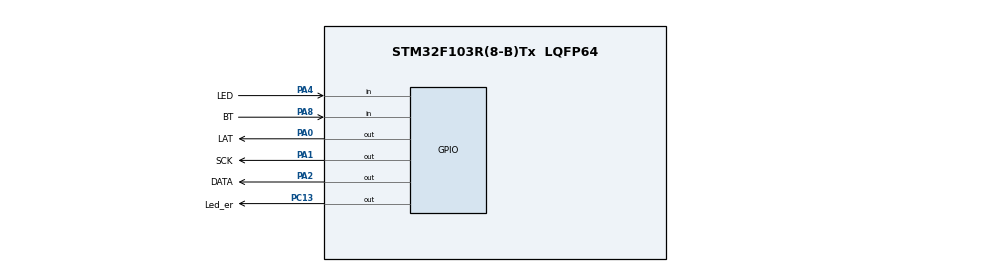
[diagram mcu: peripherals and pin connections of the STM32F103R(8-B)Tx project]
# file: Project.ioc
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Mcu.Family=STM32F1
Mcu.Name=STM32F103R(8-B)Tx
Mcu.Package=LQFP64
NVIC.PriorityGroup=NVIC_PRIORITYGROUP_4
PA0-WKUP.GPIO_Label=LAT
PA0-WKUP.Signal=GPIO_Output
PA1.GPIO_Label=SCK
PA1.Signal=GPIO_Output
PA13.Mode=Serial_Wire
PA13.Signal=SYS_JTMS-SWDIO
PA14.Mode=Serial_Wire
PA14.Signal=SYS_JTCK-SWCLK
PA2.GPIO_Label=DATA
PA2.Signal=GPIO_Output
PA4.GPIO_Label=LED
PA4.Signal=GPIO_Input
PA8.GPIO_Label=BT
PA8.Signal=GPIO_Input
PC13-TAMPER-RTC.GPIO_Label=Led_er
PC13-TAMPER-RTC.Signal=GPIO_Output
ProjectManager.HeapSize=0x200
ProjectManager.StackSize=0x400
ProjectManager.TargetToolchain=STM32CubeIDE
RCC.APB1Freq_Value=8000000
RCC.APB2Freq_Value=8000000
board=custom

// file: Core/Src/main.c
/* USER CODE BEGIN Header */
/**
  ******************************************************************************
  * @file           : main.c
  * @brief          : Main program body
  ******************************************************************************
  * @attention
  *
  * Copyright (c) 2024 STMicroelectronics.
  * All rights reserved.
  *
  * This software is licensed under terms that can be found in the LICENSE file
  * in the root directory of this software component.
  * If no LICENSE file comes with this software, it is provided AS-IS.
  *
  ******************************************************************************
  */
/* USER CODE END Header */
#include "main.h"

/* USER CODE BEGIN Includes */
#include "string.h"
#include "stdio.h"
/* USER CODE END Includes */

/* USER CODE BEGIN PV */
uint8_t LED_NUM[] = {0xC0, 0xF9, 0xA4, 0xB0, 0x99, 0x92, 0x82, 0xF8, 0x80, 0x90};
/* USER CODE END PV */

void SystemClock_Config(void);
static void MX_GPIO_Init(void);

/* USER CODE BEGIN 0 */

static void FourDigit74HC595_sendData(uint8_t data)
{
//    for(int i = 0; i < 8; i++)
//    {
//    	HAL_GPIO_WritePin(SCK_GPIO_Port, SCK_Pin, GPIO_PIN_RESET);
//        HAL_GPIO_WritePin(DATA_GPIO_Port, DATA_Pin, (data & (0x80 >> i)) ? GPIO_PIN_SET : GPIO_PIN_RESET);
//        HAL_GPIO_WritePin(SCK_GPIO_Port, SCK_Pin, GPIO_PIN_SET);
//
//    }
//    HAL_GPIO_WritePin(LAT_GPIO_Port, LAT_Pin, GPIO_PIN_SET);

	    for (int i = 0; i < 8; i++)
		{
			if (data & (1 << i))
			{
				HAL_GPIO_WritePin (DATA_GPIO_Port, DATA_Pin, GPIO_PIN_SET);
			}
			else{
				 HAL_GPIO_WritePin (DATA_GPIO_Port, DATA_Pin, GPIO_PIN_RESET);
			}
			// Tạo xung clock
			HAL_GPIO_WritePin(SCK_GPIO_Port, SCK_Pin, GPIO_PIN_SET);
			 HAL_GPIO_WritePin(SCK_GPIO_Port, SCK_Pin, GPIO_PIN_RESET);
		}

	        // Kích hoạt latch để cập nhật dữ liệu
	    HAL_GPIO_WritePin(LAT_GPIO_Port, LAT_Pin, GPIO_PIN_SET);
	    HAL_GPIO_WritePin(LAT_GPIO_Port, LAT_Pin, GPIO_PIN_RESET);
}

void FourDigit74HC595_sendOneDigit(uint8_t pos, uint8_t digit, uint8_t dot)
{
    uint8_t data = LED_NUM[digit];
    if (dot)
    {
        data &= 0x7F;
    }
    FourDigit74HC595_sendData(data);

    uint8_t posData = 1 << (pos - 1);
    FourDigit74HC595_sendData(posData);

    HAL_GPIO_WritePin(LAT_GPIO_Port, LAT_Pin, GPIO_PIN_RESET);
    HAL_GPIO_WritePin(LAT_GPIO_Port, LAT_Pin, GPIO_PIN_SET);

    HAL_Delay(1);
}

void FourDigit74HC595_sendNumber(const char* num)
{
    uint8_t len = strlen(num);
    uint8_t dot = 0;

    for (uint8_t i = 0; i < len; i++)
    {
        if (num[i] == '.')
        {
            dot++;
        }
    }

    if (len - dot > 4)
    {
        for (uint8_t i = 0; i < 4; i++)
        {
            FourDigit74HC595_sendOneDigit(i + 1, 10, 0); // Display empty
        }
        return;
    }

    uint8_t position = 1;
    dot = 0;

    for (int i = len - 1; i >= 0; i--)
    {
        if (num[i] == '-')
        {
            FourDigit74HC595_sendOneDigit(position, 10, dot);
            dot = 0;
            position++;
        }
        else if (num[i] == '.')
        {
            dot = 1;
        }
        else if (num[i] == ' ')
        {
            position++;
        }
        else
        {
            FourDigit74HC595_sendOneDigit(position, num[i] - '0', dot);
            dot = 0;
            position++;
        }

        if (position > 4)
        {
            break;
        }
    }
}
//}
/* USER CODE END 0 */

int main(void)
{

  /* MCU Configuration--------------------------------------------------------*/

  /* Reset of all peripherals, Initializes the Flash interface and the Systick. */
  HAL_Init();

  /* Configure the system clock */
  SystemClock_Config();

  /* Initialize all configured peripherals */
  MX_GPIO_Init();

  /* Infinite loop */
  while (1)
  {

    /* USER CODE BEGIN 3 */
//	  HAL_GPIO_TogglePin(LED_GPIO_Port, LED_Pin);
//	  HAL_Delay(500);
//	  HAL_GPIO_TogglePin(Led_er_GPIO_Port, Led_er_Pin);
//	 	  HAL_Delay(500);
	  //FourDigit74HC595_sendOneDigit(1,5,1);
	  HAL_GPIO_TogglePin(LED_GPIO_Port, LED_Pin);
	  HAL_Delay(500);
  }
  /* USER CODE END 3 */
}

void SystemClock_Config(void)
{
  RCC_OscInitTypeDef RCC_OscInitStruct = {0};
  RCC_ClkInitTypeDef RCC_ClkInitStruct = {0};

  /** Initializes the RCC Oscillators according to the specified parameters
  * in the RCC_OscInitTypeDef structure.
  */
  RCC_OscInitStruct.OscillatorType = RCC_OSCILLATORTYPE_HSI;
  RCC_OscInitStruct.HSIState = RCC_HSI_ON;
  RCC_OscInitStruct.HSICalibrationValue = RCC_HSICALIBRATION_DEFAULT;
  RCC_OscInitStruct.PLL.PLLState = RCC_PLL_NONE;
  if (HAL_RCC_OscConfig(&RCC_OscInitStruct) != HAL_OK)
  {
    Error_Handler();
  }

  /** Initializes the CPU, AHB and APB buses clocks
  */
  RCC_ClkInitStruct.ClockType = RCC_CLOCKTYPE_HCLK|RCC_CLOCKTYPE_SYSCLK
                              |RCC_CLOCKTYPE_PCLK1|RCC_CLOCKTYPE_PCLK2;
  RCC_ClkInitStruct.SYSCLKSource = RCC_SYSCLKSOURCE_HSI;
  RCC_ClkInitStruct.AHBCLKDivider = RCC_SYSCLK_DIV1;
  RCC_ClkInitStruct.APB1CLKDivider = RCC_HCLK_DIV1;
  RCC_ClkInitStruct.APB2CLKDivider = RCC_HCLK_DIV1;

  if (HAL_RCC_ClockConfig(&RCC_ClkInitStruct, FLASH_LATENCY_0) != HAL_OK)
  {
    Error_Handler();
  }
}

static void MX_GPIO_Init(void)
{
  GPIO_InitTypeDef GPIO_InitStruct = {0};

  /* GPIO Ports Clock Enable */
  __HAL_RCC_GPIOC_CLK_ENABLE();
  __HAL_RCC_GPIOA_CLK_ENABLE();

  /*Configure GPIO pin Output Level */
  HAL_GPIO_WritePin(Led_er_GPIO_Port, Led_er_Pin, GPIO_PIN_RESET);

  /*Configure GPIO pin Output Level */
  HAL_GPIO_WritePin(GPIOA, LAT_Pin|SCK_Pin|DATA_Pin, GPIO_PIN_RESET);

  /*Configure GPIO pin : Led_er_Pin */
  GPIO_InitStruct.Pin = Led_er_Pin;
  GPIO_InitStruct.Mode = GPIO_MODE_OUTPUT_PP;
  GPIO_InitStruct.Pull = GPIO_NOPULL;
  GPIO_InitStruct.Speed = GPIO_SPEED_FREQ_LOW;
  HAL_GPIO_Init(Led_er_GPIO_Port, &GPIO_InitStruct);

  /*Configure GPIO pins : LAT_Pin SCK_Pin DATA_Pin */
  GPIO_InitStruct.Pin = LAT_Pin|SCK_Pin|DATA_Pin;
  GPIO_InitStruct.Mode = GPIO_MODE_OUTPUT_PP;
  GPIO_InitStruct.Pull = GPIO_NOPULL;
  GPIO_InitStruct.Speed = GPIO_SPEED_FREQ_LOW;
  HAL_GPIO_Init(GPIOA, &GPIO_InitStruct);

  /*Configure GPIO pins : LED_Pin BT_Pin */
  GPIO_InitStruct.Pin = LED_Pin|BT_Pin;
  GPIO_InitStruct.Mode = GPIO_MODE_INPUT;
  GPIO_InitStruct.Pull = GPIO_NOPULL;
  HAL_GPIO_Init(GPIOA, &GPIO_InitStruct);

}

void Error_Handler(void)
{
  __disable_irq();
  while (1)
  {
  }
}
